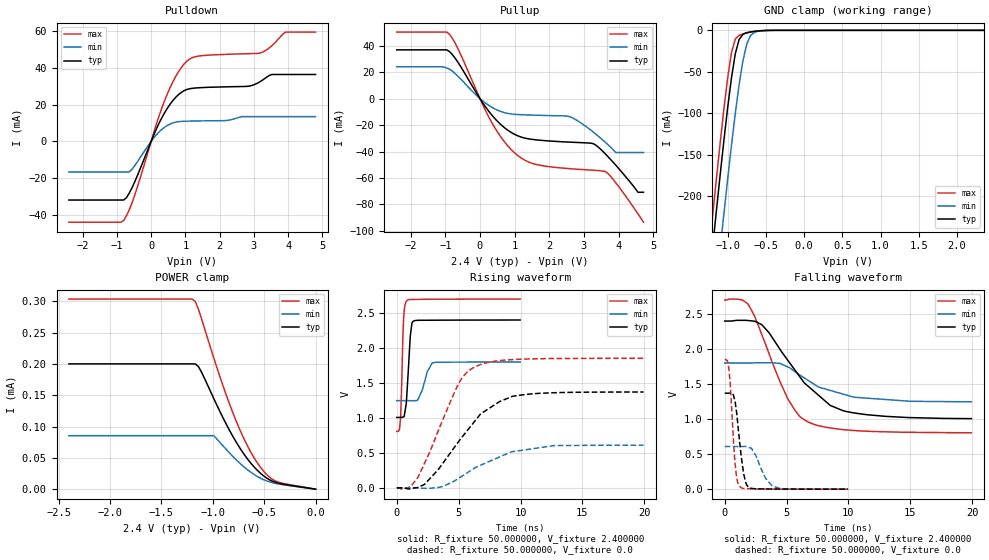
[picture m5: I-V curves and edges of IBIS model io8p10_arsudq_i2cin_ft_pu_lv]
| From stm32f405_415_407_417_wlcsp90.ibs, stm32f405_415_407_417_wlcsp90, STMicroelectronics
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|   Model io8p10_arsudq_i2cin_ft_pu_lv
[Model]  io8p10_arsudq_i2cin_ft_pu_lv
Model_type I/O
Polarity   Non-Inverting
Enable   Active-Low
Vinl =   0.720000V
Vinh =   1.680000V
Vmeas =  1.200000V
Cref =   40.000000pF
Rref =   100.000000M
Vref =   0.0V
C_comp   2.230300pF   2.174000pF   2.332300pF
[Temperature Range]   25.000000   0.125000k   -40.000000
[Pullup Reference]   2.400000V   1.800000V   2.700000V
[Pulldown Reference]   0.0V   0.0V   0.0V
[POWER Clamp Reference]   2.400000V   1.800000V   2.700000V
[GND Clamp Reference]   0.0V   0.0V   0.0V
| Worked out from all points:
|   slope of the pulldown table from 0 to 0.36 V, typ, clamps not added: 25 ohm
|   slope of the pullup table from 0 to 0.36 V, typ, clamps not added: 27.7 ohm
|   GND clamp passes 1 mA (typ) near -0.62 V on its own axis
|   rising waveform, R_fixture 50.000000, V_fixture 2.400000: 20-80 % time 277ps typ, 605ps min, 183ps max; typ from 1.01 V to 2.4 V
|   rising waveform, R_fixture 50.000000, V_fixture 0.0: 20-80 % time 3.71ns typ, 4.03ns min, 2.68ns max; typ from 0.001 V to 1.37 V
|   falling waveform, R_fixture 50.000000, V_fixture 2.400000: 20-80 % time 3.94ns typ, 3.97ns min, 2.73ns max; typ from 2.4 V to 1.01 V
|   falling waveform, R_fixture 50.000000, V_fixture 0.0: 20-80 % time 531ps typ, 979ps min, 385ps max; typ from 1.37 V to 0.001 V
[Pulldown]
|Voltage   I(typ)   I(min)   I(max)
-2.4V     -31.73mA   -16.51mA   -43.74mA
-800mV    -31.73mA   -16.51mA   -42.87mA
-480mV    -21.98mA   -13.17mA   -29.21mA
80mV      3.63mA     1.966mA    5.014mA
480mV     18.16mA    8.738mA    26.02mA
800mV     25.38mA    10.72mA    37.77mA
1.12V     28.53mA    11.02mA    44.6mA
2.8V      29.84mA    13.46mA    47.53mA
3.2V      32.6mA     13.46mA    48.03mA
3.52V     36.28mA    13.46mA    51.75mA
3.92V     36.28mA    13.46mA    59.24mA
4.8V      36.28mA    13.46mA    59.24mA
[Pullup]
|Voltage   I(typ)   I(min)   I(max)
-2.4V     36.81mA    24.03mA    50.22mA
-960mV    36.81mA    23mA       50.22mA
-640mV    27.63mA    17.02mA    37.96mA
320mV     -11.75mA   -6.207mA   -17.08mA
960mV     -26.47mA   -11.82mA   -40.02mA
1.52V     -30.88mA   -12.51mA   -49.05mA
2.56V     -32.88mA   -13.48mA   -52.9mA
3.28V     -34.18mA   -25.52mA   -54.17mA
3.6V      -41.3mA    -32.61mA   -54.97mA
3.92V     -50.32mA   -40.8mA    -63.62mA
4.56V     -70.8mA    -40.8mA    -87.07mA
4.72V     -70.8mA    -40.8mA    -93.4mA
[GND_clamp]
|Voltage   I(typ)   I(min)   I(max)
-2.4V     -1.424A    -1.508A    -1.393A
-1.25V    -311.2mA   -401.9mA   -273.3mA
-1.2V     -265.4mA   -356.1mA   -227.2mA
-1.15V    -220.4mA   -310.8mA   -181.9mA
-1.1V     -176.3mA   -266.2mA   -137.9mA
-1.05V    -133.8mA   -222.5mA   -95.87mA
-950mV    -57.3mA    -138.9mA   -26.98mA
-900mV    -28.27mA   -100.4mA   -10.59mA
-850mV    -11.01mA   -65.54mA   -5.958mA
-750mV    -2.834mA   -16.5mA    -3.178mA
-600mV    -750uA     -1.164mA   -738.3uA
2.35V     0A         0A         0A
[POWER_clamp]
|Voltage   I(typ)   I(min)   I(max)
-2.4V     200uA      85.39uA    303.5uA
-1.2V     200uA      85.39uA    303.5uA
-1.17V    200uA      85.39uA    299.5uA
-1.14V    195.7uA    85.39uA    287.5uA
-990mV    144.6uA    85.39uA    209.3uA
-870mV    104.1uA    63.61uA    150.8uA
-780mV    77.28uA    48.2uA     111.8uA
-660mV    47.71uA    30.75uA    68.21uA
-570mV    30.64uA    20.61uA    42.79uA
-480mV    18.19uA    13.44uA    24.07uA
-390mV    10.91uA    9.231uA    13.01uA
0V        0A         0A         0A
[Ramp]
| variable   typ   min   max
dV/dt_r  0.82195/3.70461n   0.36617/4.03289n   1.11083/2.67438n
dV/dt_f  0.83286/3.94495n   0.33240/4.02840n   1.13555/2.72505n
R_load = 50.000000
[Rising Waveform]
R_fixture= 50.000000
V_fixture= 2.400000
V_fixture_min= 1.800000
V_fixture_max= 2.700000
|time   V(typ)   V(min)   V(max)
0s        1.007V     1.247V     805.7mV
200.2ps   1.007V     1.247V     826.8mV
300.3ps   1.007V     1.247V     990.9mV
560.6ps   1.017V     1.247V     2.445V
820.8ps   1.356V     1.247V     2.677V
1.101ns   2.184V     1.247V     2.693V
1.341ns   2.383V     1.246V     2.694V
1.682ns   2.395V     1.253V     2.695V
2.883ns   2.397V     1.788V     2.697V
9.97ns    2.4V       1.8V       2.699V
[Rising Waveform]
R_fixture= 50.000000
V_fixture= 0.0
V_fixture_min= 0.0
V_fixture_max= 0.0
|time   V(typ)   V(min)   V(max)
0s        1.049mV    906.3uV    1.472mV
1.121ns   -12.04mV   969.1uV    18.34mV
1.722ns   8.574mV    -206.6uV   153mV
3.323ns   256.5mV    6.122mV    802.4mV
4.925ns   644.9mV    128.6mV    1.467V
6.206ns   932.5mV    274.3mV    1.719V
6.807ns   1.062V     327.3mV    1.765V
9.369ns   1.31V      518.9mV    1.834V
12.73ns   1.361V     605mV      1.849V
19.94ns   1.371V     610.2mV    1.852V
[Falling Waveform]
R_fixture= 50.000000
V_fixture= 2.400000
V_fixture_min= 1.800000
V_fixture_max= 2.700000
|time   V(typ)   V(min)   V(max)
0s        2.4V       1.8V       2.699V
1.121ns   2.41V      1.8V       2.71V
1.882ns   2.407V     1.801V     2.644V
3.003ns   2.348V     1.805V     2.205V
5.085ns   1.844V     1.747V     1.296V
6.046ns   1.611V     1.633V     1.042V
6.767ns   1.466V     1.55V      957.4mV
8.529ns   1.196V     1.41V      875.2mV
9.85ns    1.108V     1.343V     845.9mV
19.94ns   1.007V     1.247V     805.7mV
[Falling Waveform]
R_fixture= 50.000000
V_fixture= 0.0
V_fixture_min= 0.0
V_fixture_max= 0.0
|time   V(typ)   V(min)   V(max)
0s        1.371V     610.2mV    1.852V
340.3ps   1.371V     610.2mV    1.719V
440.4ps   1.371V     610.2mV    1.521V
700.7ps   1.344V     610.1mV    721.3mV
940.9ps   1.123V     609.9mV    201mV
1.221ns   652.6mV    609.7mV    37.95mV
1.682ns   105.7mV    611.3mV    8.237mV
2.042ns   19.33mV    591.8mV    6.362mV
3.844ns   3.103mV    48.82mV    2.614mV
9.97ns    1.049mV    906.3uV    1.472mV
